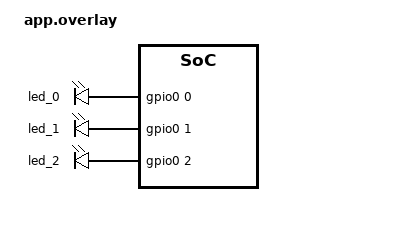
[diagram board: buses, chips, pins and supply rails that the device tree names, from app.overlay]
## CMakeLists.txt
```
# SPDX-License-Identifier: Apache-2.0

cmake_minimum_required(VERSION 3.28.0)

find_package(Zephyr REQUIRED HINTS $ENV{ZEPHYR_BASE})
project(projeto)

file(GLOB SOURCES_APP src/*.c src/led/*.c)

target_sources(app PRIVATE ${SOURCES_APP})

target_include_directories(app PRIVATE src/led)
```

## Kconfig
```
config LED_PERIOD_SLOW_MS
	int "Slow blink period (ms)"
	default 1000
	range 2 60000
	help
	  Full cycle time (on + off) of the slow blink profile.

config LED_PERIOD_NORMAL_MS
	int "Normal blink period (ms)"
	default 500
	range 2 60000
	help
	  Full cycle time (on + off) of the normal blink profile.

config LED_PERIOD_FAST_MS
	int "Fast blink period (ms)"
	default 200
	range 2 60000
	help
	  Full cycle time (on + off) of the fast blink profile.

source "Kconfig.zephyr"
```

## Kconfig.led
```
# SPDX-License-Identifier: Apache-2.0

menu "Modulo de LED (um timer para todos)"

config APP_LED_MAX_ALIASES
	int "Quantos aliases ledN procurar no devicetree"
	default 8
	range 1 32
	help
	  O modulo procura led0, led1, ... ate este numero menos um.
	  Aliases que nao existem sao ignorados. Um LED novo entra so
	  pelo devicetree, sem funcao nova no codigo.

config APP_LED_PERIOD_SLOW_MS
	int "Periodo do pisca lento, em ms (ligado + desligado)"
	default 1000
	range 2 60000

config APP_LED_PERIOD_NORMAL_MS
	int "Periodo do pisca padrao, em ms (ligado + desligado)"
	default 500
	range 2 60000

config APP_LED_PERIOD_FAST_MS
	int "Periodo do pisca rapido, em ms (ligado + desligado)"
	default 200
	range 2 60000

module = APP_LED
module-str = app_led
source "subsys/logging/Kconfig.template.log_config"

endmenu
```

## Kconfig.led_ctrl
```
# Opções do módulo led_ctrl, compartilhadas entre o app e os testes.

menu "led_ctrl: LEDs piscando com um único k_timer"

config LED_CTRL_PERIOD_SLOW_MS
	int "Período do padrão lento (ms, ciclo completo aceso+apagado)"
	default 1000
	range 2 60000

config LED_CTRL_PERIOD_NORMAL_MS
	int "Período do padrão normal (ms, ciclo completo aceso+apagado)"
	default 500
	range 2 60000

config LED_CTRL_PERIOD_FAST_MS
	int "Período do padrão rápido (ms, ciclo completo aceso+apagado)"
	default 200
	range 2 60000

config LED_CTRL_MAX_ALIAS
	int "Quantos aliases ledN procurar no devicetree (led0 ... ledN-1)"
	default 8
	range 1 32

module = LED_CTRL
module-str = led_ctrl
source "subsys/logging/Kconfig.template.log_config"

endmenu
```

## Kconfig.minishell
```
# SPDX-License-Identifier: Apache-2.0

config MINISHELL_LINE_BUF_SIZE
	int "Tamanho do buffer de linha (bytes)"
	default 64
	range 8 256
	help
	  Tamanho fixo do buffer de linha, incluindo o terminador '\0'.
	  Uma linha que nao cabe no buffer e descartada por inteiro e
	  responde "ERR: line too long".

config MINISHELL_RX_QUEUE_SIZE
	int "Tamanho da fila de bytes recebidos pela ISR"
	default 128
	range 16 1024

config MINISHELL_THREAD_STACK_SIZE
	int "Tamanho da pilha da thread da shell"
	default 2048

config MINISHELL_THREAD_PRIORITY
	int "Prioridade da thread da shell"
	default 7
```

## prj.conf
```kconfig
CONFIG_GPIO=y
CONFIG_SERIAL=y
# RX da uart1 por interrupcao (sem polling)
CONFIG_UART_INTERRUPT_DRIVEN=y
CONFIG_LOG=y

CONFIG_MINISHELL_LINE_BUF_SIZE=64
CONFIG_MINISHELL_RX_QUEUE_SIZE=256
```

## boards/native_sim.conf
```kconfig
CONFIG_GPIO_EMUL=y
CONFIG_MINISH_SIM_BTN=y
CONFIG_MINISH_SIM_BTN_PERIOD_MS=4000
```

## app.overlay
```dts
/ {
	aliases {
		led0 = &led_0;
		led1 = &led_1;
		led2 = &led_2;
	};

	leds {
		compatible = "gpio-leds";

		led_0: led_0 {
			gpios = <&gpio0 0 GPIO_ACTIVE_HIGH>;
		};

		led_1: led_1 {
			gpios = <&gpio0 1 GPIO_ACTIVE_HIGH>;
		};

		led_2: led_2 {
			gpios = <&gpio0 2 GPIO_ACTIVE_HIGH>;
		};
	};
};
```

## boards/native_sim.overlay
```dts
/* SPDX-License-Identifier: Apache-2.0 */
#include <zephyr/dt-bindings/gpio/gpio.h>

/ {
	aliases {
		led1 = &led1;
		led2 = &led2;
	};

	leds {
		led1: led_1 {
			gpios = <&gpio0 1 GPIO_ACTIVE_HIGH>;
		};

		led2: led_2 {
			gpios = <&gpio0 2 GPIO_ACTIVE_HIGH>;
		};
	};
};
```

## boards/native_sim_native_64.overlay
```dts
/*
 * native_sim:
 *  - uart0 = console (stdout); uart1 = canal de comandos (pseudo-terminal)
 *  - a placa nao tem botao: criamos sw0 no GPIO emulado (gpio0, pino 1)
 */
#include <zephyr/dt-bindings/gpio/gpio.h>
#include <zephyr/dt-bindings/input/input-event-codes.h>

/ {
	aliases {
		minishell-uart = &uart1;
		sw0 = &button0;
	};

	buttons {
		compatible = "gpio-keys";

		button0: button_0 {
			gpios = <&gpio0 1 GPIO_ACTIVE_HIGH>;
			label = "Button 0";
			zephyr,code = <INPUT_KEY_0>;
		};
	};
};

&uart1 {
	status = "okay";
};
```

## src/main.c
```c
/*******************************************************************
 * @file main.c
 *
 * @brief Main file.
 * @author João Matheus Nascimento Dias (jmnd@ic.ufal.br)
 * @version 0.1
 * @date 19/10/2026
 *******************************************************************/
#include "led/led.h"
#include "led/led_cmd.h"
#include <zephyr/kernel.h>
#include <zephyr/logging/log.h>

LOG_MODULE_REGISTER(main, LOG_LEVEL_DBG);

int main(void) {
  int ret = led_init();

  if (ret != 0) {
    LOG_ERR("LED init failed (%d)", ret);
    return ret;
  }

  led_blink(0, LED_PROFILE_SLOW);
  led_blink(1, LED_PROFILE_NORMAL);
  led_blink(2, LED_PROFILE_FAST);

  return 0;
}
```

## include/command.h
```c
#ifndef COMMAND_H
#define COMMAND_H

#include <stddef.h>

struct command;

struct command *command_init(const char *name, void (*execute)(void *), void *user_data);

void command_dispatch(struct command *commands[], size_t size, const char *name);
#endif
```

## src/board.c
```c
/*******************************************************************
 * @file board.c
 *
 * @brief Acesso ao LED e ao botao via GPIO/devicetree.
 *******************************************************************/

#include "board.h"

#include <errno.h>

#include <zephyr/drivers/gpio.h>

static const struct gpio_dt_spec led = GPIO_DT_SPEC_GET(DT_ALIAS(led0), gpios);
static const struct gpio_dt_spec btn = GPIO_DT_SPEC_GET(DT_ALIAS(sw0), gpios);

static bool led_on;

int board_init(void)
{
	int ret;

	if (!gpio_is_ready_dt(&led) || !gpio_is_ready_dt(&btn)) {
		return -ENODEV;
	}

	ret = gpio_pin_configure_dt(&led, GPIO_OUTPUT_INACTIVE);
	if (ret != 0) {
		return ret;
	}
	return gpio_pin_configure_dt(&btn, GPIO_INPUT);
}

int board_led_set(bool on)
{
	int ret = gpio_pin_set_dt(&led, on);

	if (ret == 0) {
		led_on = on;
	}
	return ret;
}

bool board_led_get(void)
{
	return led_on;
}

int board_btn_get(void)
{
	return gpio_pin_get_dt(&btn);
}
```

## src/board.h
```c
/*******************************************************************
 * @file board.h
 *
 * @brief LED (led0) e botao (sw0) obtidos pelo devicetree.
 *******************************************************************/

#ifndef BOARD_H_
#define BOARD_H_

#include <stdbool.h>

int board_init(void);
int board_led_set(bool on);
bool board_led_get(void);
int board_btn_get(void);

#endif /* BOARD_H_ */
```

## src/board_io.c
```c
#include <zephyr/drivers/gpio.h>
#include <zephyr/kernel.h>

#include "board_io.h"

#if !DT_NODE_HAS_STATUS_OKAY(DT_ALIAS(led0)) || !DT_NODE_HAS_STATUS_OKAY(DT_ALIAS(sw0))
#endif

static const struct gpio_dt_spec led = GPIO_DT_SPEC_GET(DT_ALIAS(led0), gpios);
static const struct gpio_dt_spec btn = GPIO_DT_SPEC_GET(DT_ALIAS(sw0), gpios);

static bool led_state;

static int op_led_set(void *user, bool on)
{
	int ret = gpio_pin_set_dt(&led, on);

	ARG_UNUSED(user);
	if (ret == 0) {
		led_state = on;
	}
	return ret;
}

static int op_led_toggle(void *user)
{
	return op_led_set(user, !led_state);
}

static int op_led_get(void *user)
{
	ARG_UNUSED(user);
	return led_state ? 1 : 0;
}

static int op_button_get(void *user)
{
	ARG_UNUSED(user);
	return gpio_pin_get_dt(&btn);
}

static int64_t op_uptime_ms(void *user)
{
	ARG_UNUSED(user);
	return k_uptime_get();
}

static const struct shell_hw_ops ops = {
	.led_set = op_led_set,
	.led_toggle = op_led_toggle,
	.led_get = op_led_get,
	.button_get = op_button_get,
	.uptime_ms = op_uptime_ms,
	.user = NULL,
};

int board_io_init(void)
{
	int ret;

	if (!gpio_is_ready_dt(&led) || !gpio_is_ready_dt(&btn)) {
		return -ENODEV;
	}
	ret = gpio_pin_configure_dt(&led, GPIO_OUTPUT_INACTIVE);
	if (ret < 0) {
		return ret;
	}
	led_state = false;
	return gpio_pin_configure_dt(&btn, GPIO_INPUT);
}

const struct shell_hw_ops *board_io_ops(void)
{
	return &ops;
}
```

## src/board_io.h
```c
#ifndef BOARD_IO_H_
#define BOARD_IO_H_

#include "core/shell_cmd.h"

int board_io_init(void);
const struct shell_hw_ops *board_io_ops(void);

#endif
```

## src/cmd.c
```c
/*******************************************************************
 * @file cmd.c
 *
 * @brief Tabela de comandos (function pointers) e dispatch.
 *******************************************************************/

#include "cmd.h"

#include <ctype.h>
#include <stdio.h>
#include <string.h>

#include <zephyr/sys/util.h>

static const struct cmd_hal *hal;

static int cmd_help(const char *args, char *out, size_t len);
static int cmd_led(const char *args, char *out, size_t len);
static int cmd_btn(const char *args, char *out, size_t len);
static int cmd_uptime(const char *args, char *out, size_t len);
static int cmd_echo(const char *args, char *out, size_t len);

static const struct cmd_entry cmd_table[] = {
	{"HELP", "HELP - lista os comandos", cmd_help},
	{"LED", "LED [ON|OFF] - liga/desliga o led0 ou mostra o estado", cmd_led},
	{"BTN", "BTN - le o botao sw0", cmd_btn},
	{"UPTIME", "UPTIME - tempo desde o boot em ms", cmd_uptime},
	{"ECHO", "ECHO <texto> - responde o texto recebido", cmd_echo},
};

static int clamp_written(int n, size_t len)
{
	if (n < 0 || len == 0) {
		return 0;
	}
	return MIN((size_t)n, len - 1);
}

static int reply(char *out, size_t len, const char *msg)
{
	return clamp_written(snprintf(out, len, "%s", msg), len);
}

static bool name_equals(const char *a, const char *b, size_t n)
{
	if (strlen(a) != n) {
		return false;
	}
	for (size_t i = 0; i < n; i++) {
		if (toupper((unsigned char)a[i]) != toupper((unsigned char)b[i])) {
			return false;
		}
	}
	return true;
}

static bool is_blank(const char *s)
{
	while (*s == ' ' || *s == '\t') {
		s++;
	}
	return *s == '\0';
}

static void trim_copy(const char *s, char *dst, size_t len)
{
	size_t n;

	while (*s == ' ' || *s == '\t') {
		s++;
	}
	n = strlen(s);
	while (n > 0 && (s[n - 1] == ' ' || s[n - 1] == '\t')) {
		n--;
	}
	n = MIN(n, len - 1);
	memcpy(dst, s, n);
	dst[n] = '\0';
}

static int unknown(char *out, size_t len)
{
	return reply(out, len, "ERR: unknown command");
}

static int cmd_help(const char *args, char *out, size_t len)
{
	int written = 0;

	if (!is_blank(args)) {
		return unknown(out, len);
	}

	for (size_t i = 0; i < ARRAY_SIZE(cmd_table); i++) {
		const char *sep = (i == 0) ? "" : "\r\n";

		written += clamp_written(
			snprintf(out + written, len - written, "%s%s", sep, cmd_table[i].usage),
			len - written);
	}
	return written;
}

static int cmd_led(const char *args, char *out, size_t len)
{
	char arg[8];

	trim_copy(args, arg, sizeof(arg));

	if (arg[0] == '\0') {
		return reply(out, len, hal->led_get() ? "LED: ON" : "LED: OFF");
	}
	if (name_equals("ON", arg, strlen(arg)) || name_equals("OFF", arg, strlen(arg))) {
		bool on = name_equals("ON", arg, strlen(arg));

		if (hal->led_set(on) != 0) {
			return reply(out, len, "ERR: led");
		}
		return reply(out, len, "OK");
	}
	return unknown(out, len);
}

static int cmd_btn(const char *args, char *out, size_t len)
{
	int val;

	if (!is_blank(args)) {
		return unknown(out, len);
	}
	val = hal->btn_get();
	if (val < 0) {
		return reply(out, len, "ERR: btn");
	}
	return clamp_written(snprintf(out, len, "BTN: %d", val ? 1 : 0), len);
}

static int cmd_uptime(const char *args, char *out, size_t len)
{
	if (!is_blank(args)) {
		return unknown(out, len);
	}
	return clamp_written(snprintf(out, len, "UPTIME: %lld ms", (long long)hal->uptime_ms()),
			     len);
}

static int cmd_echo(const char *args, char *out, size_t len)
{
	return reply(out, len, args);
}

void cmd_init(const struct cmd_hal *h)
{
	hal = h;
}

int cmd_dispatch(const char *line, char *out, size_t len)
{
	const char *name;
	const char *args;
	size_t name_len;

	if (len == 0) {
		return 0;
	}
	out[0] = '\0';

	name = line;
	while (*name == ' ' || *name == '\t') {
		name++;
	}
	if (*name == '\0') {
		return 0;
	}

	name_len = strcspn(name, " \t");
	args = name + name_len;
	if (*args != '\0') {
		args++;
	}

	for (size_t i = 0; i < ARRAY_SIZE(cmd_table); i++) {
		if (name_equals(cmd_table[i].name, name, name_len)) {
			return cmd_table[i].handler(args, out, len);
		}
	}
	return unknown(out, len);
}
```

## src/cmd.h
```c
/*******************************************************************
 * @file cmd.h
 *
 * @brief Parsing e dispatch dos comandos da mini-shell.
 *******************************************************************/

#ifndef CMD_H_
#define CMD_H_

#include <stdbool.h>
#include <stddef.h>
#include <stdint.h>

/** Operacoes de "hardware" que os comandos precisam. */
struct cmd_hal {
	int (*led_set)(bool on);
	bool (*led_get)(void);
	int (*btn_get)(void);
	int64_t (*uptime_ms)(void);
};

/**
 * Entrada da tabela de comandos.
 *
 * @param args resto da linha depois do nome do comando ("" se nao houver)
 * @param out  buffer de resposta
 * @param len  tamanho de @p out
 * @return quantidade de bytes escritos em @p out
 */
typedef int (*cmd_handler_t)(const char *args, char *out, size_t len);

struct cmd_entry {
	const char *name;
	const char *usage;
	cmd_handler_t handler;
};

/** Registra as operacoes de hardware usadas pelos comandos. */
void cmd_init(const struct cmd_hal *hal);

/**
 * Interpreta @p line e escreve a resposta (sem o "\r\n" final) em @p out.
 * Respostas com varias linhas usam "\r\n" entre elas.
 *
 * @return bytes escritos em @p out; 0 para linha vazia (sem resposta)
 */
int cmd_dispatch(const char *line, char *out, size_t len);

#endif /* CMD_H_ */
```

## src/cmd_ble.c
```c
#include <zephyr/kernel.h>

#include "commands.h"

static void cmd_ble_execute()
{
	printk("Recebido comando via BLE\n");
}

const command_t cmd_ble = {
	.name = "ble",
	.execute = cmd_ble_execute,
	.ctx = NULL,
};
```

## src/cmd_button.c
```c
#include <zephyr/kernel.h>

#include "commands.h"

static void cmd_button_execute()
{
	printk("Botao pressionado\n");
}

const struct command cmd_button = {
	.name = "button",
	.execute = cmd_button_execute,
	.ctx = NULL,
};
```

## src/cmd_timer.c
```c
#include <zephyr/kernel.h>

#include "commands.h"

static void cmd_timer_execute()
{
	printk("Timer expirou\n");
}

const struct command cmd_timer = {
	.name = "timer",
	.execute = cmd_timer_execute,
	.ctx = NULL,
};
```

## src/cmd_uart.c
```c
#include <zephyr/kernel.h>

#include "commands.h"

static void cmd_uart_execute()
{
	printk("Recebido comando via UART\n");
}

const struct command cmd_uart = {
	.name = "uart",
	.execute = cmd_uart_execute,
	.ctx = NULL,
};
```

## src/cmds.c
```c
#include "cmd.h"
#include "cmds.h"

#include <errno.h>
#include <stdio.h>
#include <stdlib.h>
#include <string.h>

#include <zephyr/kernel.h>

static int show_serial(void **args, int argc)
{

	printk("Value from serial: %d\r\n", 1024);

	return 0;
}

static int get_adc(void **args, int argc)
{
	static int adc = 250;

	int current_adc = adc;

	adc++;

	return current_adc;
}

static int add_value(void **args, int argc)
{
	int A = *((int *)args[0]);
	int B = *((int *)args[1]);

	return A + B;
}

/** Command table, terminated by @ref TABLE_TERMINATOR. */
static const cmd_command table[] = {
	{.name = "show_serial",
	 .description = "Show value incoming from serial",
	 .handler = show_serial},
	{.name = "get_adc", .description = "Get adc reading", .handler = get_adc},
	{.name = "add_value", .description = "Adds two values.", .handler = add_value},
	{.name = TABLE_TERMINATOR, .description = "", .handler = NULL},
};

const cmd_command *cmd_get_command_table()
{
	return table;
}

int cmd_list_commands()
{
	const cmd_command *table = cmd_get_command_table();

	if (table == NULL) {
		return -ENOENT;
	}

	while (strcmp(table->name, TABLE_TERMINATOR) != 0) {
		printk("[%s]: %s\r\n", table->name, table->description);
		table++;
	}

	return 0;
}
```
